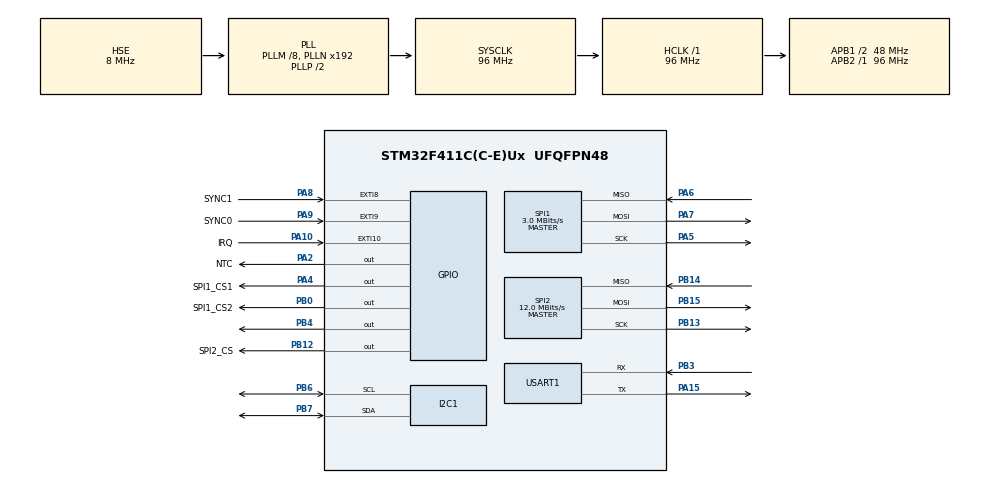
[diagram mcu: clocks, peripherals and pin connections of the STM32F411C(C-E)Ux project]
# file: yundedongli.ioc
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Dma.Request0=USART1_RX
Dma.USART1_RX.0.Direction=DMA_PERIPH_TO_MEMORY
Dma.USART1_RX.0.FIFOMode=DMA_FIFOMODE_DISABLE
Dma.USART1_RX.0.Instance=DMA2_Stream2
Dma.USART1_RX.0.MemDataAlignment=DMA_MDATAALIGN_BYTE
Dma.USART1_RX.0.MemInc=DMA_MINC_ENABLE
Dma.USART1_RX.0.Mode=DMA_CIRCULAR
Dma.USART1_RX.0.PeriphDataAlignment=DMA_PDATAALIGN_BYTE
Dma.USART1_RX.0.PeriphInc=DMA_PINC_DISABLE
Dma.USART1_RX.0.Priority=DMA_PRIORITY_LOW
Mcu.Family=STM32F4
Mcu.Name=STM32F411C(C-E)Ux
Mcu.Package=UFQFPN48
NVIC.DMA2_Stream2_IRQn=true\:0\:0\:false\:false\:true\:false\:true\:true
NVIC.EXTI15_10_IRQn=true\:2\:0\:true\:false\:true\:true\:true\:true
NVIC.EXTI9_5_IRQn=true\:2\:0\:true\:false\:true\:true\:true\:true
NVIC.PriorityGroup=NVIC_PRIORITYGROUP_4
NVIC.TIM2_IRQn=true\:1\:0\:true\:false\:true\:true\:true\:true
NVIC.USART1_IRQn=true\:0\:0\:false\:false\:true\:true\:true\:true
PA10.GPIO_Label=IRQ
PA10.Signal=GPXTI10
PA13.Mode=Serial_Wire
PA13.Signal=SYS_JTMS-SWDIO
PA14.Mode=Serial_Wire
PA14.Signal=SYS_JTCK-SWCLK
PA15.Mode=Asynchronous
PA15.Signal=USART1_TX
PA2.GPIO_Label=NTC
PA2.Signal=GPIO_Output
PA4.GPIO_Label=SPI1_CS1
PA4.Signal=GPIO_Output
PA5.Mode=Full_Duplex_Master
PA5.Signal=SPI1_SCK
PA6.Mode=Full_Duplex_Master
PA6.Signal=SPI1_MISO
PA7.Mode=Full_Duplex_Master
PA7.Signal=SPI1_MOSI
PA8.GPIO_Label=SYNC1
PA8.Signal=GPXTI8
PA9.GPIO_Label=SYNC0
PA9.Signal=GPXTI9
PB0.GPIO_Label=SPI1_CS2
PB0.Signal=GPIO_Output
PB12.GPIO_Label=SPI2_CS
PB12.Signal=GPIO_Output
PB13.Mode=Full_Duplex_Master
PB13.Signal=SPI2_SCK
PB14.Mode=Full_Duplex_Master
PB14.Signal=SPI2_MISO
PB15.Mode=Full_Duplex_Master
PB15.Signal=SPI2_MOSI
PB3.Mode=Asynchronous
PB3.Signal=USART1_RX
PB4.Signal=GPIO_Output
PB6.Mode=I2C
PB6.Signal=I2C1_SCL
PB7.Mode=I2C
PB7.Signal=I2C1_SDA
PH0\ -\ OSC_IN.Mode=HSE-External-Oscillator
PH0\ -\ OSC_IN.Signal=RCC_OSC_IN
PH1\ -\ OSC_OUT.Mode=HSE-External-Oscillator
PH1\ -\ OSC_OUT.Signal=RCC_OSC_OUT
ProjectManager.HeapSize=0x200
ProjectManager.StackSize=0x400
ProjectManager.TargetToolchain=CMake
RCC.48MHZClocksFreq_Value=48000000
RCC.AHBFreq_Value=96000000
RCC.APB1CLKDivider=RCC_HCLK_DIV2
RCC.APB1Freq_Value=48000000
RCC.APB1TimFreq_Value=96000000
RCC.APB2Freq_Value=96000000
RCC.APB2TimFreq_Value=96000000
RCC.CortexFreq_Value=96000000
RCC.HCLKFreq_Value=96000000
RCC.HSE_VALUE=8000000
RCC.HSI_VALUE=16000000
RCC.LSE_VALUE=32768
RCC.PLLM=8
RCC.PLLSourceVirtual=RCC_PLLSOURCE_HSE
RCC.SYSCLKFreq_VALUE=96000000
RCC.SYSCLKSource=RCC_SYSCLKSOURCE_PLLCLK
RCC.VCOOutputFreq_Value=192000000
SPI1.BaudRatePrescaler=SPI_BAUDRATEPRESCALER_32
SPI1.CalculateBaudRate=3.0 MBits/s
SPI1.Direction=SPI_DIRECTION_2LINES
SPI1.Mode=SPI_MODE_MASTER
SPI1.VirtualType=VM_MASTER
SPI2.BaudRatePrescaler=SPI_BAUDRATEPRESCALER_4
SPI2.CLKPhase=SPI_PHASE_2EDGE
SPI2.CLKPolarity=SPI_POLARITY_HIGH
SPI2.CalculateBaudRate=12.0 MBits/s
SPI2.Direction=SPI_DIRECTION_2LINES
SPI2.Mode=SPI_MODE_MASTER
SPI2.VirtualType=VM_MASTER
TIM2.Period=1000-1
TIM2.Prescaler=96-1
USART1.VirtualMode=VM_ASYNC
VP_TIM2_VS_ClockSourceINT.Mode=Internal
board=custom

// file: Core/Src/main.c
/* USER CODE BEGIN Header */
/**
  ******************************************************************************
  * @file           : main.c
  * @brief          : Main program body
  ******************************************************************************
  * @attention
  *
  * Copyright (c) 2026 STMicroelectronics.
  * All rights reserved.
  *
  * This software is licensed under terms that can be found in the LICENSE file
  * in the root directory of this software component.
  * If no LICENSE file comes with this software, it is provided AS-IS.
  *
  ******************************************************************************
  */
/* USER CODE END Header */
#include "main.h"
#include "dma.h"
#include "i2c.h"
#include "spi.h"
#include "stm32f4xx_hal.h"
#include "tim.h"
#include "usart.h"
#include "gpio.h"

/* USER CODE BEGIN Includes */
#include <string.h>
#include "calibration.h"
#include "filter.h"
#include "lha7668-8.h"
#include "self_test.h"
#include "rs485_cmd.h"
#include "sensor_types.h"
#include "flash_storage.h"
#include "at24c04.h"
#include "six_component_force.h"
#include "applInterface.h"
#include "ecat_def.h"

/* USER CODE END Includes */

/* USER CODE BEGIN PV */
static volatile uint32_t g_tick_ms = 0;

/* Shared global state (declared in sensor_types.h) */
volatile sensor_data_t   g_sensor;
volatile system_state_t  g_sys;
config_t                 g_config = {
    .sn         = "HS-01234567",
    .fw_version = 0x0100,
};
decouple_matrix_t        g_matrix;

uint8_t output_interface = 0;
uint8_t ether_flag = 1;

/* USER CODE END PV */

void SystemClock_Config(void);

/* USER CODE BEGIN 0 */
#define ADC_DATA_BUFF_LEN       64
#define ADC_CHANNEL_NUM         6
#define KILOGRAM_TO_NEWTON      9.8

static uint8_t adc_data_int_count = 0;
static uint8_t adc_data_usr_count = 0;
static uint32_t adc_data_buff[ADC_DATA_BUFF_LEN][6] = { 0 };

static float adc_data_calculate(uint8_t index)
{
    return (float)((int32_t)adc_data_buff[adc_data_usr_count][index] - 0x800000) * (1.0f / 8388608.0f) * 2500;
}

float matrix[6][6] = { {0.298418, -0.211604, -0.529767, -0.012232, -0.178473, 0.211071 },
                        {0.004134, 0.211038, -0.006878, 0.007002, -0.001183, -0.001670 },
                        {0.006217, -0.000427, 0.558141, 0.003760, -0.004378, -0.142885 },
                        {-0.000174, -0.000562, 0.001114, 0.001136, 0.000010, -0.000292 },
                        {-0.000243, -0.000483, -0.003015, -0.000066, -0.001470, 0.001025 },
                        {0.000317, -0.000204, -0.000423, -0.000031, -0.000158, 0.001769 }};

static void adc_data_proc(float data[6])
{
    // int i = 0;
    // if (g_sys.data_format == 0) {
    //     for (i = 0; i < ADC_CHANNEL_NUM; i++) {
    //         g_sensor.force[i] = data[i];
    //     }
    // } else if (g_sys.data_format == 1) {
    //     g_sensor.force[0] = matrix[0][0] * data[0] / KILOGRAM_TO_NEWTON + matrix[0][1] * data[1] / KILOGRAM_TO_NEWTON +
    //                 matrix[0][2] * data[2] / KILOGRAM_TO_NEWTON + matrix[0][3] * data[3] / KILOGRAM_TO_NEWTON +
    //                 matrix[0][4] * data[4] / KILOGRAM_TO_NEWTON + matrix[0][5] * data[5] / KILOGRAM_TO_NEWTON;

    //     g_sensor.force[1] = matrix[1][0] * data[0] / KILOGRAM_TO_NEWTON + matrix[1][1] * data[1] / KILOGRAM_TO_NEWTON +
    //                 matrix[1][2] * data[2] / KILOGRAM_TO_NEWTON + matrix[1][3] * data[3] / KILOGRAM_TO_NEWTON +
    //                 matrix[1][4] * data[4] / KILOGRAM_TO_NEWTON + matrix[1][5] * data[5] / KILOGRAM_TO_NEWTON;

    //     g_sensor.force[2] = matrix[2][0] * data[0] / KILOGRAM_TO_NEWTON + matrix[2][1] * data[1] / KILOGRAM_TO_NEWTON +
    //                 matrix[2][2] * data[2] / KILOGRAM_TO_NEWTON + matrix[2][3] * data[3] / KILOGRAM_TO_NEWTON +
    //                 matrix[2][4] * data[4] / KILOGRAM_TO_NEWTON + matrix[2][5] * data[5] / KILOGRAM_TO_NEWTON;

    //     g_sensor.force[3] = matrix[3][0] * data[0] / KILOGRAM_TO_NEWTON + matrix[3][1] * data[1] / KILOGRAM_TO_NEWTON +
    //                 matrix[3][2] * data[2] / KILOGRAM_TO_NEWTON + matrix[3][3] * data[3] / KILOGRAM_TO_NEWTON +
    //                 matrix[3][4] * data[4] / KILOGRAM_TO_NEWTON + matrix[3][5] * data[5] / KILOGRAM_TO_NEWTON;

    //     g_sensor.force[4] = matrix[4][0] * data[0] / KILOGRAM_TO_NEWTON + matrix[4][1] * data[1] / KILOGRAM_TO_NEWTON +
    //                 matrix[4][2] * data[2] / KILOGRAM_TO_NEWTON + matrix[4][3] * data[3] / KILOGRAM_TO_NEWTON +
    //                 matrix[4][4] * data[4] / KILOGRAM_TO_NEWTON + matrix[4][5] * data[5] / KILOGRAM_TO_NEWTON;

    //     g_sensor.force[5] = matrix[5][0] * data[0] / KILOGRAM_TO_NEWTON + matrix[5][1] * data[1] / KILOGRAM_TO_NEWTON +
    //                 matrix[5][2] * data[2] / KILOGRAM_TO_NEWTON + matrix[5][3] * data[3] / KILOGRAM_TO_NEWTON +
    //                 matrix[5][4] * data[4] / KILOGRAM_TO_NEWTON + matrix[5][5] * data[5] / KILOGRAM_TO_NEWTON;
    // } else if (g_sys.data_format == 2) {
    //     g_sensor.force[0] = matrix[0][0] * data[0] + matrix[0][1] * data[1] +
    //                 matrix[0][2] * data[2] + matrix[0][3] * data[3] +
    //                 matrix[0][4] * data[4] + matrix[0][5] * data[5];

    //     g_sensor.force[1] = matrix[1][0] * data[0] + matrix[1][1] * data[1] +
    //                 matrix[1][2] * data[2] + matrix[1][3] * data[3] +
    //                 matrix[1][4] * data[4] + matrix[1][5] * data[5];

    //     g_sensor.force[2] = matrix[2][0] * data[0] + matrix[2][1] * data[1] +
    //                 matrix[2][2] * data[2] + matrix[2][3] * data[3] +
    //                 matrix[2][4] * data[4] + matrix[2][5] * data[5];

    //     g_sensor.force[3] = matrix[3][0] * data[0] + matrix[3][1] * data[1] +
    //                 matrix[3][2] * data[2] + matrix[3][3] * data[3] +
    //                 matrix[3][4] * data[4] + matrix[3][5] * data[5];

    //     g_sensor.force[4] = matrix[4][0] * data[0] + matrix[4][1] * data[1] +
    //                 matrix[4][2] * data[2] + matrix[4][3] * data[3] +
    //                 matrix[4][4] * data[4] + matrix[4][5] * data[5];

    //     g_sensor.force[5] = matrix[5][0] * data[0] + matrix[5][1] * data[1] +
    //                 matrix[5][2] * data[2] + matrix[5][3] * data[3] +
    //                 matrix[5][4] * data[4] + matrix[5][5] * data[5];
    // }
    int i = 0;
    if (g_sys.data_format == 0) {
        for (i = 0; i < ADC_CHANNEL_NUM; i++) {
            g_sensor.force[i] = data[i];
        }
    } else if (g_sys.data_format == 1) {
        g_sensor.force[0] = g_matrix.m[0][0] * data[0] / KILOGRAM_TO_NEWTON + g_matrix.m[0][1] * data[1] / KILOGRAM_TO_NEWTON +
                    g_matrix.m[0][2] * data[2] / KILOGRAM_TO_NEWTON + g_matrix.m[0][3] * data[3] / KILOGRAM_TO_NEWTON +
                    g_matrix.m[0][4] * data[4] / KILOGRAM_TO_NEWTON + g_matrix.m[0][5] * data[5] / KILOGRAM_TO_NEWTON;

        g_sensor.force[1] = g_matrix.m[1][0] * data[0] / KILOGRAM_TO_NEWTON + g_matrix.m[1][1] * data[1] / KILOGRAM_TO_NEWTON +
                    g_matrix.m[1][2] * data[2] / KILOGRAM_TO_NEWTON + g_matrix.m[1][3] * data[3] / KILOGRAM_TO_NEWTON +
                    g_matrix.m[1][4] * data[4] / KILOGRAM_TO_NEWTON + g_matrix.m[1][5] * data[5] / KILOGRAM_TO_NEWTON;

        g_sensor.force[2] = g_matrix.m[2][0] * data[0] / KILOGRAM_TO_NEWTON + g_matrix.m[2][1] * data[1] / KILOGRAM_TO_NEWTON +
                    g_matrix.m[2][2] * data[2] / KILOGRAM_TO_NEWTON + g_matrix.m[2][3] * data[3] / KILOGRAM_TO_NEWTON +
                    g_matrix.m[2][4] * data[4] / KILOGRAM_TO_NEWTON + g_matrix.m[2][5] * data[5] / KILOGRAM_TO_NEWTON;

        g_sensor.force[3] = g_matrix.m[3][0] * data[0] / KILOGRAM_TO_NEWTON + g_matrix.m[3][1] * data[1] / KILOGRAM_TO_NEWTON +
                    g_matrix.m[3][2] * data[2] / KILOGRAM_TO_NEWTON + g_matrix.m[3][3] * data[3] / KILOGRAM_TO_NEWTON +
                    g_matrix.m[3][4] * data[4] / KILOGRAM_TO_NEWTON + g_matrix.m[3][5] * data[5] / KILOGRAM_TO_NEWTON;

        g_sensor.force[4] = g_matrix.m[4][0] * data[0] / KILOGRAM_TO_NEWTON + g_matrix.m[4][1] * data[1] / KILOGRAM_TO_NEWTON +
                    g_matrix.m[4][2] * data[2] / KILOGRAM_TO_NEWTON + g_matrix.m[4][3] * data[3] / KILOGRAM_TO_NEWTON +
                    g_matrix.m[4][4] * data[4] / KILOGRAM_TO_NEWTON + g_matrix.m[4][5] * data[5] / KILOGRAM_TO_NEWTON;

        g_sensor.force[5] = g_matrix.m[5][0] * data[0] / KILOGRAM_TO_NEWTON + g_matrix.m[5][1] * data[1] / KILOGRAM_TO_NEWTON +
                    g_matrix.m[5][2] * data[2] / KILOGRAM_TO_NEWTON + g_matrix.m[5][3] * data[3] / KILOGRAM_TO_NEWTON +
                    g_matrix.m[5][4] * data[4] / KILOGRAM_TO_NEWTON + g_matrix.m[5][5] * data[5] / KILOGRAM_TO_NEWTON;
    } else if (g_sys.data_format == 2) {
        g_sensor.force[0] = g_matrix.m[0][0] * data[0] + g_matrix.m[0][1] * data[1] +
                    g_matrix.m[0][2] * data[2] + g_matrix.m[0][3] * data[3] +
                    g_matrix.m[0][4] * data[4] + g_matrix.m[0][5] * data[5];

        g_sensor.force[1] = g_matrix.m[1][0] * data[0] + g_matrix.m[1][1] * data[1] +
                    g_matrix.m[1][2] * data[2] + g_matrix.m[1][3] * data[3] +
                    g_matrix.m[1][4] * data[4] + g_matrix.m[1][5] * data[5];

        g_sensor.force[2] = g_matrix.m[2][0] * data[0] + g_matrix.m[2][1] * data[1] +
                    g_matrix.m[2][2] * data[2] + g_matrix.m[2][3] * data[3] +
                    g_matrix.m[2][4] * data[4] + g_matrix.m[2][5] * data[5];

        g_sensor.force[3] = g_matrix.m[3][0] * data[0] + g_matrix.m[3][1] * data[1] +
                    g_matrix.m[3][2] * data[2] + g_matrix.m[3][3] * data[3] +
                    g_matrix.m[3][4] * data[4] + g_matrix.m[3][5] * data[5];

        g_sensor.force[4] = g_matrix.m[4][0] * data[0] + g_matrix.m[4][1] * data[1] +
                    g_matrix.m[4][2] * data[2] + g_matrix.m[4][3] * data[3] +
                    g_matrix.m[4][4] * data[4] + g_matrix.m[4][5] * data[5];

        g_sensor.force[5] = g_matrix.m[5][0] * data[0] + g_matrix.m[5][1] * data[1] +
                    g_matrix.m[5][2] * data[2] + g_matrix.m[5][3] * data[3] +
                    g_matrix.m[5][4] * data[4] + g_matrix.m[5][5] * data[5];
    }

    for (i = 0; i < ADC_CHANNEL_NUM; i++) {
        g_sensor.force[i] = FloatFilter_UpdateChannel(i, g_sensor.force[i]);
    }
}

void uart_debug(const char *msg)
{
    RS485_TX;
    HAL_UART_Transmit(&huart1, (const uint8_t *)msg, (uint16_t)strlen(msg), 100);
    RS485_RX;
}

/* Interrupt function callback -----------------------------------------------*/
void USART1_IRQHandler(void)
{
    if (__HAL_UART_GET_FLAG(&huart1, UART_FLAG_IDLE)) {
        __HAL_UART_CLEAR_IDLEFLAG(&huart1);
        if (huart1.hdmarx) {
            uint16_t rem = (uint16_t)__HAL_DMA_GET_COUNTER(huart1.hdmarx);
            rs485_rx_idle_cb(rem);
        }
    }
    HAL_UART_IRQHandler(&huart1);
}

void HAL_TIM_PeriodElapsedCallback(TIM_HandleTypeDef *htim)
{
    if (htim->Instance == TIM2) {
        g_tick_ms++;

        if (g_tick_ms % 3 == 0) {
            uint32_t raw[3];
            /* ADC1 三通道 = FX/FY/FZ，ADC2 三通道 = TX/TY/TZ。
               整组读取，任一通道超时/序列异常则整组不更新，
               数组各通道保留自己上一次的有效值，绝不相互错位 */
            if (int_adcData_3ch(&raw[0], &raw[1], &raw[2]) == 0) {
                adc_data_buff[adc_data_int_count][0] = raw[0];
                adc_data_buff[adc_data_int_count][1] = raw[1];
                adc_data_buff[adc_data_int_count][2] = raw[2];
            }
            if (int_adcData_2_3ch(&raw[0], &raw[1], &raw[2]) == 0) {
                adc_data_buff[adc_data_int_count][3] = raw[0];
                adc_data_buff[adc_data_int_count][4] = raw[1];
                adc_data_buff[adc_data_int_count][5] = raw[2];
            }
            adc_data_int_count++;
            if (adc_data_int_count >= 64) {
                adc_data_int_count = 0;
            }
        }
    }
}

/* ---- Continuous RS485 data send state ---- */
static uint32_t g_last_rs485_send_ms;

void send_string(uint8_t *str, uint16_t len)
{
    RS485_TX;
    HAL_UART_Transmit(&huart1, (uint8_t *)str, len, 500);
    RS485_RX;
}

uint8_t hex_buf_send[256] = { 0 };
uint8_t mb_buf_send[33] = { 0 };

#define HEX_BUF_SEND_OFFSET 1

static void rs485_send_continuous(void)
{
    uint32_t interval = (g_sys.freq_mode == 0) ? 2U : 1U;  /* 500Hz or 1kHz */
    if ((g_tick_ms - g_last_rs485_send_ms) >= interval) {
        g_last_rs485_send_ms = g_tick_ms;

        if (g_sys.debug_mode == 0) {
            if (output_interface == 1) {
                /* Build data frame: AA 55 00 [SEQ4B] [6×float32] 0D 0A */
                // uint32_t seq = g_sys.frame_seq++;
                hex_buf_send[0] = RS485_CMD_CONT_DATA;
                // hex_buf_send[1] = (uint8_t)(seq);
                // hex_buf_send[2] = (uint8_t)(seq >> 8);
                // hex_buf_send[3] = (uint8_t)(seq >> 16);
                // hex_buf_send[4] = (uint8_t)(seq >> 24);
                for (int i = 0; i < 6; i++) {
                    float f = g_sensor.force[i];   /* read volatile once */
                    uint32_t u; memcpy(&u, &f, 4);
                    hex_buf_send[HEX_BUF_SEND_OFFSET + i * 4 + 0] = (uint8_t)(u);
                    hex_buf_send[HEX_BUF_SEND_OFFSET + i * 4 + 1] = (uint8_t)(u >> 8);
                    hex_buf_send[HEX_BUF_SEND_OFFSET + i * 4 + 2] = (uint8_t)(u >> 16);
                    hex_buf_send[HEX_BUF_SEND_OFFSET + i * 4 + 3] = (uint8_t)(u >> 24);
                }

                rs485_send_raw(hex_buf_send, 24 + HEX_BUF_SEND_OFFSET);
            }
        } else if (g_sys.debug_mode == 1) {
            for (int i = 0; i < 6; i++) {
                float f = g_sensor.force[i];   /* read volatile once */
                uint32_t u; memcpy(&u, &f, 4);
                hex_buf_send[i * 4 + 0] = (uint8_t)(u);
                hex_buf_send[i * 4 + 1] = (uint8_t)(u >> 8);
                hex_buf_send[i * 4 + 2] = (uint8_t)(u >> 16);
                hex_buf_send[i * 4 + 3] = (uint8_t)(u >> 24);
            }
            hex_buf_send[24] = 0x00;
            hex_buf_send[25] = 0x00;
            hex_buf_send[26] = 0x80;
            hex_buf_send[27] = 0x7F;
            just_float_send_raw(hex_buf_send, 28);
        }
    }
}

/* USER CODE END 0 */

int main(void)
{

  /* MCU Configuration--------------------------------------------------------*/

  /* Reset of all peripherals, Initializes the Flash interface and the Systick. */
  HAL_Init();

  /* Configure the system clock */
  SystemClock_Config();

  /* Initialize all configured peripherals */
  MX_GPIO_Init();
  MX_DMA_Init();
  MX_I2C1_Init();
  MX_SPI1_Init();
  MX_SPI2_Init();
  MX_USART1_UART_Init();
  MX_TIM2_Init();
  /* USER CODE BEGIN 2 */

    calib_init();
    uart_debug("Data Transformation Layer Init OK\r\n");
    FloatFilter_Init();
    uart_debug("FloatFilter Init OK\r\n");

    HAL_GPIO_WritePin(GPIOA, SPI1_CS1_Pin, GPIO_PIN_SET);
    HAL_GPIO_WritePin(GPIOB, SPI1_CS2_Pin, GPIO_PIN_SET);

    if (lha7668_init(ADC_SAMPLING_RATE_3) != 0)
    {
        uart_debug("LHA7668 init FAILED, will reset & retry\r\n");
        HAL_Delay(2000);
        NVIC_SystemReset();
    }
    uart_debug("LHA7668 OK\r\n");

    uart_debug("--- RS485 self-test ---\r\n");
    rs485_init(&huart1, rs485_cmd_dispatch);
    uint32_t st_rs485 = self_test_rs485();
    uart_debug(st_rs485 == ST_ERR_NONE ? "RS485 OK (USART+DMA)\r\n" : "RS485 FAIL\r\n");

    if (ethercat_hw_init() != 0)
    {
        uart_debug("EtherCAT SPI FAILED (BYTE_ORDER 0x64)\r\n");
    }
    else
    {
        uart_debug("EtherCAT SPI OK\r\n");
        MainInit();
        uart_debug("EtherCAT Init OK\r\n");
    }

    flash_load_all();

    g_sys.data_format = 2;
    HAL_TIM_Base_Start_IT(&htim2);   /* Start 1kHz timer */

  /* USER CODE END 2 */

  /* Infinite loop */
  /* USER CODE BEGIN WHILE */
    while (1)
    {
        if (ether_flag == 1) {
            MainLoop();
        }
    /* USER CODE END WHILE */

    /* USER CODE BEGIN 3 */
        // static uint32_t last_beat = 0;
        // /* ---- Heartbeat ---- */
        // if ((g_tick_ms - last_beat) >= 3000) {
        //     uart_debug(".\r\n");
        //     last_beat = g_tick_ms;
        // }

        {
            float adc_tmp[ADC_CHANNEL_NUM] = { 0 };

            if (adc_data_usr_count != adc_data_int_count) {
                adc_data_usr_count = adc_data_int_count;
                for (uint8_t i = 0; i < ADC_CHANNEL_NUM; i++) {
                    adc_tmp[i] = adc_data_calculate(i);

                    if (g_sys.zero_calib_busy == 0) {
                        adc_tmp[i] -= g_sensor.force_zero[i];
                    }
                }

                if (g_sys.zero_calib_busy == 1) {
                    calib_zero_cale(adc_tmp);
                }

                adc_data_proc(adc_tmp);
            }
        }

        if (calib_zero_is_done()) {
            g_sys.zero_calib_busy = 0;
            calib_zero_over();
            flash_save_zero();
            uart_debug("Zero calib done — saved to Flash\r\n");
        }

        if (g_sys.send_mode == 1) {
            rs485_send_continuous();
        } else {
            g_last_rs485_send_ms = g_tick_ms;   /* reset timer on stop */
        }

        rs485_process();
    }
  /* USER CODE END 3 */
}

void SystemClock_Config(void)
{
  RCC_OscInitTypeDef RCC_OscInitStruct = {0};
  RCC_ClkInitTypeDef RCC_ClkInitStruct = {0};

  /** Configure the main internal regulator output voltage
  */
  __HAL_RCC_PWR_CLK_ENABLE();
  __HAL_PWR_VOLTAGESCALING_CONFIG(PWR_REGULATOR_VOLTAGE_SCALE1);

  /** Initializes the RCC Oscillators according to the specified parameters
  * in the RCC_OscInitTypeDef structure.
  */
  RCC_OscInitStruct.OscillatorType = RCC_OSCILLATORTYPE_HSE;
  RCC_OscInitStruct.HSEState = RCC_HSE_ON;
  RCC_OscInitStruct.PLL.PLLState = RCC_PLL_ON;
  RCC_OscInitStruct.PLL.PLLSource = RCC_PLLSOURCE_HSE;
  RCC_OscInitStruct.PLL.PLLM = 8;
  RCC_OscInitStruct.PLL.PLLN = 192;
  RCC_OscInitStruct.PLL.PLLP = RCC_PLLP_DIV2;
  RCC_OscInitStruct.PLL.PLLQ = 4;
  if (HAL_RCC_OscConfig(&RCC_OscInitStruct) != HAL_OK)
  {
    Error_Handler();
  }

  /** Initializes the CPU, AHB and APB buses clocks
  */
  RCC_ClkInitStruct.ClockType = RCC_CLOCKTYPE_HCLK|RCC_CLOCKTYPE_SYSCLK
                              |RCC_CLOCKTYPE_PCLK1|RCC_CLOCKTYPE_PCLK2;
  RCC_ClkInitStruct.SYSCLKSource = RCC_SYSCLKSOURCE_PLLCLK;
  RCC_ClkInitStruct.AHBCLKDivider = RCC_SYSCLK_DIV1;
  RCC_ClkInitStruct.APB1CLKDivider = RCC_HCLK_DIV2;
  RCC_ClkInitStruct.APB2CLKDivider = RCC_HCLK_DIV1;

  if (HAL_RCC_ClockConfig(&RCC_ClkInitStruct, FLASH_LATENCY_3) != HAL_OK)
  {
    Error_Handler();
  }
}

void Error_Handler(void)
{
  __disable_irq();
  while (1)
  {
  }
}
